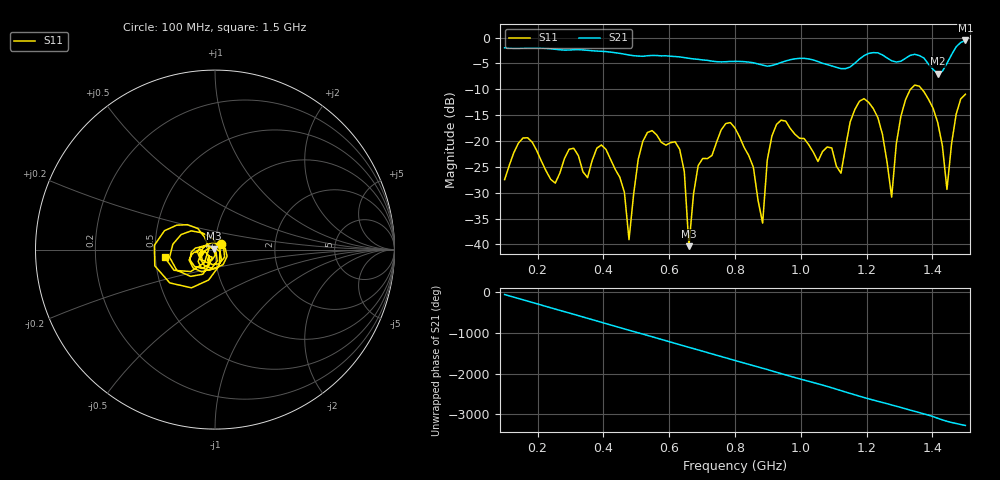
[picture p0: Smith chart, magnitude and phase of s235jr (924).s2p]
! NanoVNA-App
! Date: 2025-09-25 15:11:22
! Start: 100MHz Stop: 1,5GHz Points: 101
! S-Parameter data: F S11 S21 S12 S22
# Hz S RI R 50
!  Frequency  S11_Real  S11_Imag  S21_Real  S21_Imag  S12_Real  S12_Imag  S22_Real  S22_Imag
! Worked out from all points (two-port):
!   101 points, 100 MHz to 1.5 GHz, reference 50 ohm
!   highest |S21| = -0.56 dB at 1.5 GHz (marker M1); lowest = -7.0 dB at 1.416 GHz (marker M2)
!   |S21| within 3 dB of the highest: start of sweep to 502 MHz; 528.1 MHz to 595.3 MHz (67.26 MHz wide, 12 % of centre) (the widest 2 of 5)
!   lowest |S11| = -40.3 dB at 660 MHz (marker M3), VSWR 1.02, Z = 49.2 + j0.551 ohm
!   |S11| at or under -10 dB: start of sweep to 1.333 GHz; 1.368 GHz to end of sweep
!   S12 and S22 are empty: the file has one direction only
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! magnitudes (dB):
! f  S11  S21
! 100 MHz  -27.5  -2.0
! 156 MHz  -19.4  -2.0
! 338 MHz  -26.0  -2.4
! 408 MHz  -21.6  -2.7
! 478 MHz  -39.1  -3.4
! 520 MHz  -20.1  -3.6
! 576 MHz  -20.3  -3.5
! 632 MHz  -21.6  -3.7
! 660 MHz  -40.3  -4.0
! 688 MHz  -24.8  -4.2
! 800 MHz  -17.5  -4.6
! 884 MHz  -35.9  -5.3
! 926 MHz  -16.8  -5.1
! 1.038 GHz  -22.2  -4.3
! 1.122 GHz  -26.2  -6.0
! 1.192 GHz  -11.8  -3.5
! 1.234 GHz  -15.5  -3.0
! 1.276 GHz  -30.9  -4.5
! 1.332 GHz  -10.1  -3.4
! 1.416 GHz  -16.4  -7.0
! 1.444 GHz  -29.4  -5.0
! 1.5 GHz  -11.0  -0.6
